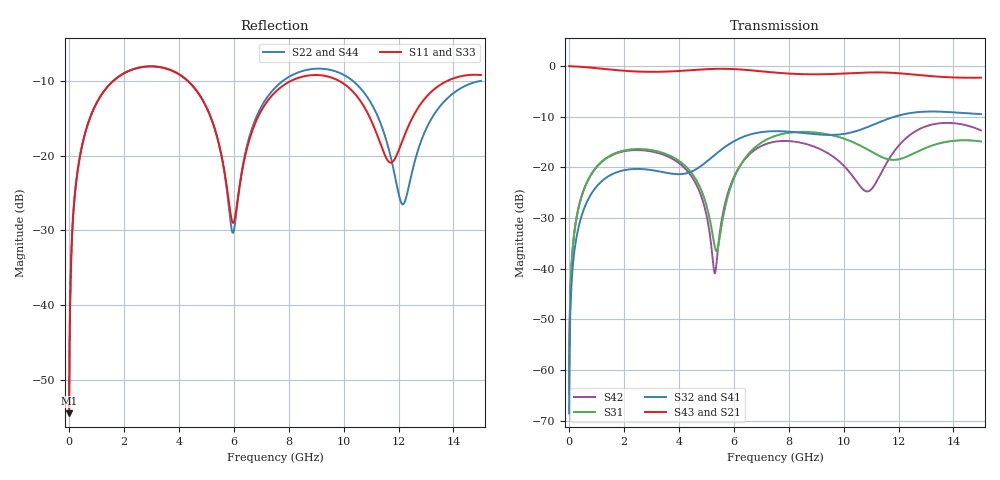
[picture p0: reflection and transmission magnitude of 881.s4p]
! Created with skrf 1.8.0 (http://scikit-rf.org).
# GHz S RI R 50.0
!freq ReS11 ImS11 ReS12 ImS12 ReS13 ImS13
! ReS14 ImS14
! ReS21 ImS21 ReS22 ImS22 ReS23 ImS23
! ReS24 ImS24
! ReS31 ImS31 ReS32 ImS32 ReS33 ImS33
! ReS34 ImS34
! ReS41 ImS41 ReS42 ImS42 ReS43 ImS43
! ReS44 ImS44
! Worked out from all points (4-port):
!   2499 points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, 5 MHz to 15 GHz, reference 50 ohm
!   strongest paths, dB at 5 MHz, 3.476 GHz, 7.19 GHz, 11.1 GHz, 15 GHz:
!     S43: 0.0, -1.1, -1.1, -1.2, -2.3
!     S21: 0.0, -1.1, -1.1, -1.2, -2.3
!     S32: -68.5, -21.0, -12.9, -11.5, -9.5
!     S41: -68.5, -21.0, -12.9, -11.5, -9.5
!     S31: -64.6, -17.2, -14.5, -17.2, -14.9
!     S42: -64.6, -17.6, -15.3, -23.7, -12.7
!   lowest |S11| = -54.5 dB at 5 MHz (marker M1), VSWR 1.00, Z = 50.2 + j0.115 ohm
!   |S11| at or under -10 dB: start of sweep to 1.614 GHz; 4.322 GHz to 8.08 GHz (3.758 GHz wide, 60.6 % of centre); 9.84 GHz to 13.77 GHz (3.932 GHz wide, 33.3 % of centre)
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0.005  0.00151 0.00115  0.9985 -0.00293  7.48e-05 0.000582  -7.27e-05 -0.000367
       0.9985 -0.00293  0.00151 0.00115  -7.27e-05 -0.000367  7.47e-05 0.000582
       7.48e-05 0.000582  -7.27e-05 -0.000367  0.00151 0.00115  0.9985 -0.00293
       -7.27e-05 -0.000367  7.47e-05 0.000582  0.9985 -0.00293  0.00151 0.00115
0.3126303  0.0208 0.076  0.9717 -0.1831  0.00941 0.0348  -0.0077 -0.0219
           0.9717 -0.1831  0.0209 0.076  -0.0077 -0.0219  0.00902 0.0349
           0.00941 0.0348  -0.0077 -0.0219  0.0208 0.076  0.9717 -0.1831
           -0.0077 -0.0219  0.00902 0.0349  0.9717 -0.1831  0.0209 0.076
1.519383  0.238 0.1899  0.6157 -0.6883  0.1149 0.0642  -0.0826 -0.0168
          0.6157 -0.6883  0.2396 0.1891  -0.0826 -0.0167  0.1098 0.0701
          0.1149 0.0642  -0.0826 -0.0167  0.2379 0.1899  0.6157 -0.6883
          -0.0826 -0.0168  0.1098 0.0701  0.6157 -0.6883  0.2395 0.189
5.771155  0.0379 -0.0437  -0.926 -0.1571  -0.00558 0.05  -0.0259 0.1635
          -0.926 -0.1571  0.0323 -0.044  -0.025 0.1636  -0.0112 0.0528
          -0.00558 0.05  -0.025 0.1636  0.0392 -0.0421  -0.9261 -0.157
          -0.0259 0.1635  -0.0112 0.0528  -0.9261 -0.157  0.0306 -0.0428
9.303877  0.3412 -0.0291  0.0298 0.8307  0.1404 -0.1628  0.1975 -0.0701
          0.0298 0.8307  0.3745 -0.0667  0.1972 -0.0717  0.144 -0.0098
          0.1404 -0.1628  0.1972 -0.0717  0.341 -0.0293  0.0286 0.8308
          0.1975 -0.0701  0.144 -0.0098  0.0286 0.8308  0.3747 -0.0651
12.15506  0.1083 0.0675  0.8436 0.0288  -0.0711 0.1009  0.00318 -0.3335
          0.8436 0.0288  0.0465 -0.00857  -0.000577 -0.3328  0.1163 0.139
          -0.0711 0.1009  -0.000577 -0.3328  0.1132 0.0674  0.8435 0.0314
          0.00318 -0.3335  0.1163 0.139  0.8435 0.0314  0.0421 -0.00753
15  0.3448 -0.0306  0.1657 -0.7496  0.1615 -0.0801  -0.3367 0.00124
    0.1657 -0.7496  0.3161 0.0163  -0.3358 0.00485  0.2062 -0.1069
    0.1615 -0.0801  -0.3358 0.00485  0.3436 -0.0363  0.1707 -0.7492
    -0.3367 0.00124  0.2062 -0.1069  0.1707 -0.7492  0.3129 0.0255
